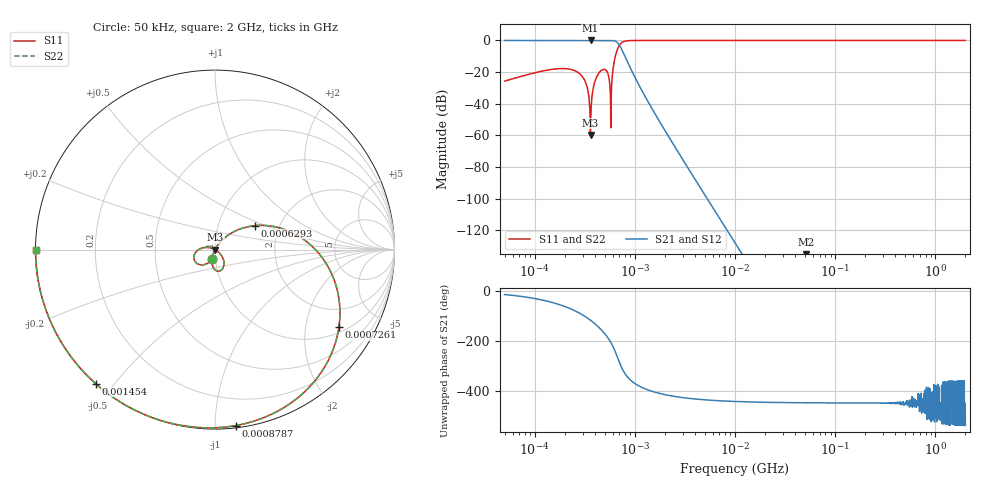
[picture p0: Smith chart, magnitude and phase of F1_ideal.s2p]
! Created with skrf 2.2.0 (http://scikit-rf.org).
# MHz S RI R 50.0
! Port[1] = P1
! Port[2] = P2
!freq ReS11 ImS11 ReS21 ImS21 ReS12 ImS12 ReS22 ImS22
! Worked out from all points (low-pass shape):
!   2001 points, 50 kHz to 2 GHz, reference 50 ohm
!   highest |S21| = 0.00 dB at 360.8 kHz (marker M1); lowest = -198.8 dB at 51.13 MHz (marker M2)
!   |S21| within 3 dB of the highest: start of sweep to 700.1 kHz
!   lowest |S11| = -59.7 dB at 360.8 kHz (marker M3), VSWR 1.00, Z = 50.1 - j0.0502 ohm
!   |S11| at or under -10 dB: start of sweep to 638 kHz
!   |S22| runs from -59.7 to 0.0 dB; largest |S21 - S12| = 8.1e-16
!   S11 on the Smith chart (normalised r, x): 50 kHz: 0.97, -0.10; 629.3 kHz: 1.50, +0.43; 726.1 kHz: 1.18, -3.05; 878.7 kHz: 0.01, -1.13; 1.454 MHz: 0.00, -0.45; 2 GHz: -0.00, -0.00
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0.05  -0.0143 -0.0499  0.9599 -0.2754  0.9599 -0.2754  -0.0143 -0.0499
0.1458069  -0.0878 -0.0831  0.6824 -0.7209  0.6824 -0.7209  -0.0878 -0.0831
0.2934364  -0.0773 0.00677  -0.087 -0.9932  -0.087 -0.9932  -0.0773 0.00677
0.3245141  -0.0426 0.0121  -0.2723 -0.9612  -0.2723 -0.9612  -0.0426 0.0121
0.3476538  -0.0145 0.00648  -0.4076 -0.913  -0.4076 -0.913  -0.0145 0.00648
0.3607898  0.000911 -0.000501  -0.4818 -0.8763  -0.4818 -0.8763  0.000911 -0.000501
0.4011204  0.0384 -0.0367  -0.6899 -0.722  -0.6899 -0.722  0.0384 -0.0367
0.4555117  0.0467 -0.0981  -0.8977 -0.4271  -0.8977 -0.4271  0.0467 -0.0981
0.5172783  0.000235 -0.1125  -0.9936 -0.00208  -0.9936 -0.00208  0.000235 -0.1125
0.5751019  -0.000799 -0.00155  -0.8892 0.4574  -0.8892 0.4574  -0.000799 -0.00155
0.5968319  0.0526 0.0646  -0.7728 0.6292  -0.7728 0.6292  0.0526 0.0646
0.6293067  0.2236 0.1335  -0.495 0.8289  -0.495 0.8289  0.2236 0.1335
0.7260895  0.6903 -0.4333  0.3081 0.4908  0.3081 0.4908  0.6903 -0.4333
0.8786729  0.1166 -0.9803  0.1584 0.0188  0.1584 0.0188  0.1166 -0.9803
1.453534  -0.665 -0.7468  0.00585 -0.00521  0.00585 -0.00521  -0.665 -0.7468
1.712999  -0.7652 -0.6438  0.00207 -0.00246  0.00207 -0.00246  -0.7652 -0.6438
3.393047  -0.943 -0.3328  3.1e-05 -8.78e-05  3.1e-05 -8.78e-05  -0.943 -0.3328
10  -0.9935 -0.1136  4.59e-08 -4.01e-07  4.59e-08 -4.01e-07  -0.9935 -0.1136
51.13488  -0.9998 -0.0222  2.56e-12 -1.15e-10  2.56e-12 -1.15e-10  -0.9998 -0.0222
58.68728  -0.9998 -0.0194  1.12e-12 -5.77e-11  1.12e-12 -5.77e-11  -0.9998 -0.0194
342.5997  -1 -0.00332  -1.38e-16 -8.52e-15  -3.08e-16 -8.52e-15  -1 -0.00332
2000  -1 -0.000568  -1.11e-16 -1.29e-18  1.4e-17 -1.3e-18  -1 -0.000568
